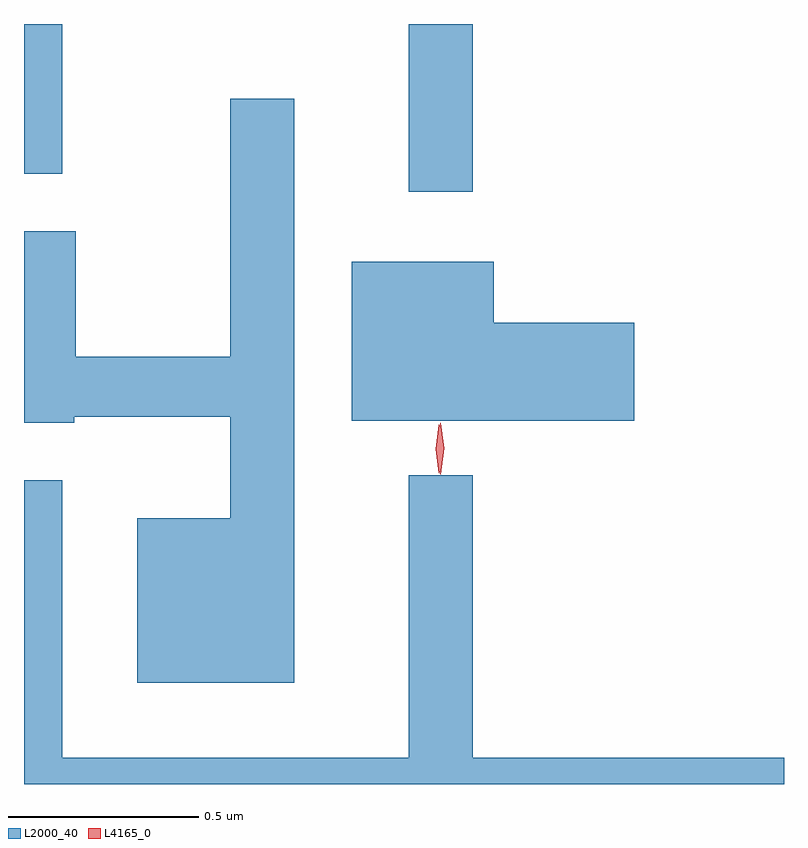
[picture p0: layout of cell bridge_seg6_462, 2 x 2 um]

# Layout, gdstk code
import gdstk
lib = gdstk.Library(unit=1e-6, precision=1e-09)
def R(c, l, rs):  # rectangles x0, y0, x1, y1
    for r in rs: c.add(gdstk.rectangle(r[:2], r[2:], *l))
def P(c, l, *ps):  # polygons
    for p in ps: c.add(gdstk.Polygon(p, *l))
L2000_40 = (2000, 40)
L4165_0 = (4165, 0)

bridge_seg6_462 = lib.new_cell('bridge_seg6_462')
R(bridge_seg6_462, L2000_40, [(827.251,1653.913,827.419,1654.355), (826.238,1653.961,826.339,1654.355)])
P(bridge_seg6_462, L2000_40, [(826.949,1654.158),(826.781,1654.158),(826.781,1653.479),(826.374,1653.479),(826.374,1653.809),(826.238,1653.809),(826.238,1653.306),(826.37,1653.306),(826.37,1653.321),(826.781,1653.321),(826.781,1653.054),(826.536,1653.054),(826.536,1652.621),(826.949,1652.621)],
  [(827.844,1653.569),(827.474,1653.569),(827.474,1653.729),(827.101,1653.729),(827.101,1653.311),(827.844,1653.311)],
  [(828.238,1652.424),(827.419,1652.424),(827.419,1653.168),(827.251,1653.168),(827.251,1652.424),(826.339,1652.424),(826.339,1653.154),(826.238,1653.154),(826.238,1652.355),(828.238,1652.355)])
P(bridge_seg6_462, L4165_0, [(827.334,1653.17),(827.325,1653.238),(827.334,1653.305),(827.334,1653.306),(827.335,1653.305),(827.344,1653.238),(827.335,1653.17),(827.335,1653.17)],
  [(827.331,1653.173),(827.33,1653.174),(827.321,1653.236),(827.33,1653.3),(827.33,1653.3),(827.331,1653.3),(827.341,1653.236),(827.331,1653.174)])

lib.write_gds('bridge_seg6_462.gds')
